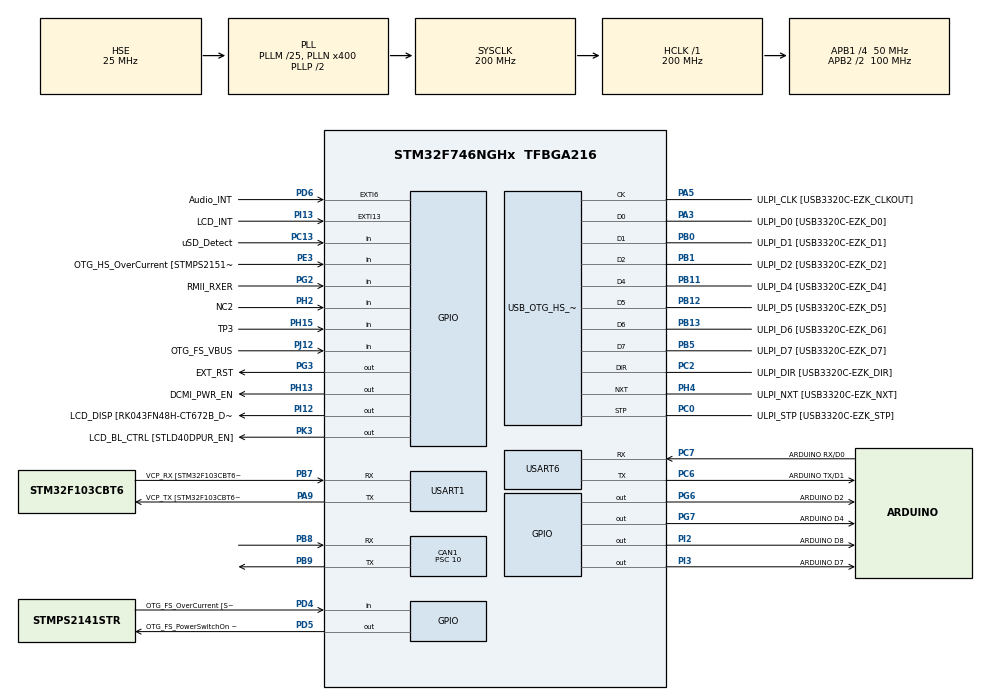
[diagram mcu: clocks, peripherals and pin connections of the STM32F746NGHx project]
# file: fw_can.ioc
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CAN1.BS1=CAN_BS1_8TQ
CAN1.CalculateBaudRate=500000
CAN1.CalculateTimeBit=2000
CAN1.CalculateTimeQuantum=200.0
CAN1.Prescaler=10
Mcu.Family=STM32F7
Mcu.Name=STM32F746NGHx
Mcu.Package=TFBGA216
NVIC.CAN1_RX0_IRQn=true\:0\:0\:false\:false\:true\:true\:true\:true
NVIC.PriorityGroup=NVIC_PRIORITYGROUP_4
PA0/WKUP.GPIO_Label=ARDUINO A0
PA0/WKUP.GPIO_Mode=GPIO_MODE_ANALOG
PA0/WKUP.GPIO_PuPd=GPIO_NOPULL
PA0/WKUP.Signal=ADCx_IN0
PA1.GPIO_Label=RMII_REF_CLK [LAN8742A-CZ-TR_REFCLK0]
PA1.Signal=ETH_REF_CLK
PA10.GPIO_Label=OTG_FS_ID
PA10.Signal=USB_OTG_FS_ID
PA11.GPIO_Label=OTG_FS_N
PA11.Signal=USB_OTG_FS_DM
PA12.GPIO_Label=OTG_FS_P
PA12.Signal=USB_OTG_FS_DP
PA13.GPIO_Label=SWDIO
PA13.Mode=Serial_Wire
PA13.Signal=SYS_JTMS-SWDIO
PA14.GPIO_Label=SWCLK
PA14.Mode=Serial_Wire
PA14.Signal=SYS_JTCK-SWCLK
PA15.GPIO_Label=ARDUINO PWM/D9
PA15.GPIO_ModeDefaultPP=GPIO_MODE_AF_PP
PA15.GPIO_PuPd=GPIO_NOPULL
PA15.GPIO_Speed=GPIO_SPEED_FREQ_LOW
PA15.Signal=S_TIM2_CH1_ETR
PA2.GPIO_Label=RMII_MDIO [LAN8742A-CZ-TR_MDIO]
PA2.Signal=ETH_MDIO
PA3.GPIO_Label=ULPI_D0 [USB3320C-EZK_D0]
PA3.Mode=Host_HS
PA3.Signal=USB_OTG_HS_ULPI_D0
PA4.GPIO_Label=DCMI_HSYNC
PA4.Signal=DCMI_HSYNC
PA5.GPIO_Label=ULPI_CLK [USB3320C-EZK_CLKOUT]
PA5.Mode=Host_HS
PA5.Signal=USB_OTG_HS_ULPI_CK
PA6.Signal=DCMI_PIXCLK
PA7.GPIO_Label=RMII_CRS_DV [LAN8742A-CZ-TR_CRS_DV]
PA7.Signal=ETH_CRS_DV
PA8.GPIO_Label=ARDUINO PWM/D10
PA8.GPIO_ModeDefaultPP=GPIO_MODE_AF_PP
PA8.GPIO_PuPd=GPIO_NOPULL
PA8.GPIO_Speed=GPIO_SPEED_FREQ_LOW
PA8.Signal=S_TIM1_CH1
PA9.GPIO_Label=VCP_TX [STM32F103CBT6_PA3]
PA9.GPIO_Mode=GPIO_MODE_AF_PP
PA9.GPIO_PuPd=GPIO_NOPULL
PA9.GPIO_Speed=GPIO_SPEED_FREQ_LOW
PA9.Mode=Asynchronous
PA9.Signal=USART1_TX
PB0.GPIO_Label=ULPI_D1 [USB3320C-EZK_D1]
PB0.Mode=Host_HS
PB0.Signal=USB_OTG_HS_ULPI_D1
PB1.GPIO_Label=ULPI_D2 [USB3320C-EZK_D2]
PB1.Mode=Host_HS
PB1.Signal=USB_OTG_HS_ULPI_D2
PB10.GPIO_Label=ULPI_D3 [USB3320C-EZK_D3]
PB10.Signal=USB_OTG_HS_ULPI_D3
PB11.GPIO_Label=ULPI_D4 [USB3320C-EZK_D4]
PB11.Mode=Host_HS
PB11.Signal=USB_OTG_HS_ULPI_D4
PB12.GPIO_Label=ULPI_D5 [USB3320C-EZK_D5]
PB12.Mode=Host_HS
PB12.Signal=USB_OTG_HS_ULPI_D5
PB13.GPIO_Label=ULPI_D6 [USB3320C-EZK_D6]
PB13.Mode=Host_HS
PB13.Signal=USB_OTG_HS_ULPI_D6
PB14.GPIO_Label=ARDUINO MISO/D12
PB14.GPIO_Mode=GPIO_MODE_AF_PP
PB14.GPIO_PuPd=GPIO_NOPULL
PB14.GPIO_Speed=GPIO_SPEED_FREQ_LOW
PB14.Signal=SPI2_MISO
PB15.GPIO_Label=ARDUINO MOSI/PWM/D11
PB15.GPIO_Mode=GPIO_MODE_AF_PP
PB15.GPIO_PuPd=GPIO_NOPULL
PB15.GPIO_Speed=GPIO_SPEED_FREQ_LOW
PB15.Signal=SPI2_MOSI
PB2.Signal=QUADSPI_CLK
PB3.GPIO_Label=SWO
PB3.Signal=SYS_JTDO-SWO
PB4.GPIO_Label=ARDUINO PWM/D3
PB4.GPIO_ModeDefaultPP=GPIO_MODE_AF_PP
PB4.GPIO_PuPd=GPIO_NOPULL
PB4.GPIO_Speed=GPIO_SPEED_FREQ_LOW
PB4.Signal=S_TIM3_CH1
PB5.GPIO_Label=ULPI_D7 [USB3320C-EZK_D7]
PB5.Mode=Host_HS
PB5.Signal=USB_OTG_HS_ULPI_D7
PB6.GPIO_Label=QSPI_NCS [N25Q128A13EF840E_S]
PB6.Signal=QUADSPI_BK1_NCS
PB7.GPIO_Label=VCP_RX [STM32F103CBT6_PA2]
PB7.GPIO_Mode=GPIO_MODE_AF_PP
PB7.GPIO_PuPd=GPIO_NOPULL
PB7.GPIO_Speed=GPIO_SPEED_FREQ_LOW
PB7.Mode=Asynchronous
PB7.Signal=USART1_RX
PB8.Mode=CAN_Activate
PB8.Signal=CAN1_RX
PB9.Mode=CAN_Activate
PB9.Signal=CAN1_TX
PC0.GPIO_Label=ULPI_STP [USB3320C-EZK_STP]
PC0.Mode=Host_HS
PC0.Signal=USB_OTG_HS_ULPI_STP
PC1.GPIO_Label=RMII_MDC [LAN8742A-CZ-TR_MDC]
PC1.Signal=ETH_MDC
PC10.GPIO_Label=SDMMC_D2
PC10.Signal=SDMMC1_D2
PC11.GPIO_Label=SDMMC_D3
PC11.Signal=SDMMC1_D3
PC12.GPIO_Label=SDMMC_CK
PC12.Signal=SDMMC1_CK
PC13.GPIO_Label=uSD_Detect
PC13.Signal=GPIO_Input
PC14/OSC32_IN.GPIO_Label=RCC_OSC32_IN
PC14/OSC32_IN.Mode=LSE-External-Oscillator
PC14/OSC32_IN.Signal=RCC_OSC32_IN
PC15/OSC32_OUT.GPIO_Label=RCC_OSC32_OUT
PC15/OSC32_OUT.Mode=LSE-External-Oscillator
PC15/OSC32_OUT.Signal=RCC_OSC32_OUT
PC2.GPIO_Label=ULPI_DIR [USB3320C-EZK_DIR]
PC2.Mode=Host_HS
PC2.Signal=USB_OTG_HS_ULPI_DIR
PC3.GPIO_Label=FMC_SDCKE0 [MT48LC4M32B2B5-6A_CKE]
PC3.Signal=FMC_SDCKE0
PC4.GPIO_Label=RMII_RXD0 [LAN8742A-CZ-TR_RXD0]
PC4.Signal=ETH_RXD0
PC5.GPIO_Label=RMII_RXD1 [LAN8742A-CZ-TR_RXD1]
PC5.Signal=ETH_RXD1
PC6.GPIO_Label=ARDUINO TX/D1
PC6.Mode=Asynchronous
PC6.Signal=USART6_TX
PC7.GPIO_Label=ARDUINO RX/D0
PC7.Mode=Asynchronous
PC7.Signal=USART6_RX
PC8.Signal=SDMMC1_D0
PC9.Signal=SDMMC1_D1
PD0.GPIO_Label=FMC_D2 [MT48LC4M32B2B5-6A_DQ2]
PD0.Signal=FMC_D2_DA2
PD1.GPIO_Label=FMC_D3 [MT48LC4M32B2B5-6A_DQ3]
PD1.Signal=FMC_D3_DA3
PD10.GPIO_Label=FMC_D15 [MT48LC4M32B2B5-6A_DQ15]
PD10.Signal=FMC_D15_DA15
PD11.GPIO_Label=QSPI_D0 [N25Q128A13EF840E_DQ0]
PD11.Signal=QUADSPI_BK1_IO0
PD12.GPIO_Label=QSPI_D1 [N25Q128A13EF840E_DQ1]
PD12.Signal=QUADSPI_BK1_IO1
PD13.GPIO_Label=QSPI_D3 [N25Q128A13EF840E_DQ3]
PD13.Signal=QUADSPI_BK1_IO3
PD14.GPIO_Label=FMC_D0 [MT48LC4M32B2B5-6A_DQ0]
PD14.Signal=FMC_D0_DA0
PD15.GPIO_Label=FMC_D1 [MT48LC4M32B2B5-6A_DQ1]
PD15.Signal=FMC_D1_DA1
PD2.GPIO_Label=SDMMC_CMD
PD2.Signal=SDMMC1_CMD
PD3.GPIO_Label=DCMI_D5
PD3.Signal=DCMI_D5
PD4.GPIO_Label=OTG_FS_OverCurrent [STMPS2141STR_Fault]
PD4.Signal=GPIO_Input
PD5.GPIO_Label=OTG_FS_PowerSwitchOn [STMPS2141STR_EN]
PD5.PinState=GPIO_PIN_SET
PD5.Signal=GPIO_Output
PD6.GPIO_Label=Audio_INT
PD6.GPIO_ModeDefaultEXTI=GPIO_MODE_EVT_RISING
PD6.Signal=GPXTI6
PD7.GPIO_Label=SPDIF_RX0 [74LVC1G04SE_4]
PD7.Signal=SPDIFRX_IN0
PD8.GPIO_Label=FMC_D13 [MT48LC4M32B2B5-6A_DQ13]
PD8.Signal=FMC_D13_DA13
PD9.GPIO_Label=FMC_D14 [MT48LC4M32B2B5-6A_DQ14]
PD9.Signal=FMC_D14_DA14
PE0.GPIO_Label=FMC_NBL0 [MT48LC4M32B2B5-6A_DQM0]
PE0.Signal=FMC_NBL0
PE1.GPIO_Label=FMC_NBL1 [MT48LC4M32B2B5-6A_DQM1]
PE1.Signal=FMC_NBL1
PE10.GPIO_Label=FMC_D7 [MT48LC4M32B2B5-6A_DQ7]
PE10.Signal=FMC_D7_DA7
PE11.GPIO_Label=FMC_D8 [MT48LC4M32B2B5-6A_DQ8]
PE11.Signal=FMC_D8_DA8
PE12.GPIO_Label=FMC_D9 [MT48LC4M32B2B5-6A_DQ9]
PE12.Signal=FMC_D9_DA9
PE13.GPIO_Label=FMC_D10 [MT48LC4M32B2B5-6A_DQ10]
PE13.Signal=FMC_D10_DA10
PE14.GPIO_Label=FMC_D11 [MT48LC4M32B2B5-6A_DQ11]
PE14.Signal=FMC_D11_DA11
PE15.GPIO_Label=FMC_D12 [MT48LC4M32B2B5-6A_DQ12]
PE15.Signal=FMC_D12_DA12
PE2.GPIO_Label=QSPI_D2 [N25Q128A13EF840E_DQ2]
PE2.Signal=QUADSPI_BK1_IO2
PE3.GPIO_Label=OTG_HS_OverCurrent [STMPS2151STR_FAULT]
PE3.Signal=GPIO_Input
PE4.GPIO_Label=LCD_B0 [RK043FN48H-CT672B_B0]
PE4.Signal=LTDC_B0
PE5.GPIO_Label=DCMI_D6
PE5.Signal=DCMI_D6
PE6.GPIO_Label=DCMI_D7
PE6.Signal=DCMI_D7
PE7.GPIO_Label=FMC_D4 [MT48LC4M32B2B5-6A_DQ4]
PE7.Signal=FMC_D4_DA4
PE8.GPIO_Label=FMC_D5 [MT48LC4M32B2B5-6A_DQ5]
PE8.Signal=FMC_D5_DA5
PE9.GPIO_Label=FMC_D6 [MT48LC4M32B2B5-6A_DQ6]
PE9.Signal=FMC_D6_DA6
PF0.GPIO_Label=FMC_A0 [MT48LC4M32B2B5-6A_A0]
PF0.Signal=FMC_A0
PF1.GPIO_Label=FMC_A1 [MT48LC4M32B2B5-6A_A1]
PF1.Signal=FMC_A1
PF10.GPIO_Label=ARDUINO A1
PF10.GPIO_Mode=GPIO_MODE_ANALOG
PF10.GPIO_PuPd=GPIO_NOPULL
PF10.Signal=ADC3_IN8
PF11.GPIO_Label=FMC_SDNRAS [MT48LC4M32B2B5-6A_RAS]
PF11.Signal=FMC_SDNRAS
PF12.GPIO_Label=FMC_A6 [MT48LC4M32B2B5-6A_A6]
PF12.Signal=FMC_A6
PF13.GPIO_Label=FMC_A7 [MT48LC4M32B2B5-6A_A7]
PF13.Signal=FMC_A7
PF14.GPIO_Label=FMC_A8 [MT48LC4M32B2B5-6A_A8]
PF14.Signal=FMC_A8
PF15.GPIO_Label=FMC_A9 [MT48LC4M32B2B5-6A_A9]
PF15.Signal=FMC_A9
PF2.GPIO_Label=FMC_A2 [MT48LC4M32B2B5-6A_A2]
PF2.Signal=FMC_A2
PF3.GPIO_Label=FMC_A3 [MT48LC4M32B2B5-6A_A3]
PF3.Signal=FMC_A3
PF4.GPIO_Label=FMC_A4 [MT48LC4M32B2B5-6A_A4]
PF4.Signal=FMC_A4
PF5.GPIO_Label=FMC_A5 [MT48LC4M32B2B5-6A_A5]
PF5.Signal=FMC_A5
PF6.GPIO_Label=ARDUINO A5
PF6.GPIO_Mode=GPIO_MODE_ANALOG
PF6.GPIO_PuPd=GPIO_NOPULL
PF6.Signal=ADC3_IN4
PF7.GPIO_Label=ARDUINO A4
PF7.GPIO_Mode=GPIO_MODE_ANALOG
PF7.GPIO_PuPd=GPIO_NOPULL
PF7.Signal=ADC3_IN5
PF8.GPIO_Label=ARDUINO A3
PF8.GPIO_Mode=GPIO_MODE_ANALOG
PF8.GPIO_PuPd=GPIO_NOPULL
PF8.Signal=ADC3_IN6
PF9.GPIO_Label=ARDUINO A2
PF9.GPIO_Mode=GPIO_MODE_ANALOG
PF9.GPIO_PuPd=GPIO_NOPULL
PF9.Signal=ADC3_IN7
PG0.GPIO_Label=FMC_A10 [MT48LC4M32B2B5-6A_A10]
PG0.Signal=FMC_A10
PG1.GPIO_Label=FMC_A11 [MT48LC4M32B2B5-6A_A11]
PG1.Signal=FMC_A11
PG10.GPIO_Label=SAI2_SDB [WM8994ECS/R_ADCDAT1]
PG10.Signal=SAI2_SD_B
PG11.GPIO_Label=RMII_TX_EN [LAN8742A-CZ-TR_TXEN]
PG11.Signal=ETH_TX_EN
PG12.GPIO_Label=LCD_B4 [RK043FN48H-CT672B_B4]
PG12.Signal=LTDC_B4
PG13.GPIO_Label=RMII_TXD0 [LAN8742A-CZ-TR_TXD0]
PG13.Signal=ETH_TXD0
PG14.GPIO_Label=RMII_TXD1 [LAN8742A-CZ-TR_TXD1]
PG14.Signal=ETH_TXD1
PG15.GPIO_Label=FMC_SDNCAS [MT48LC4M32B2B5-6A_CAS]
PG15.Signal=FMC_SDNCAS
PG2.GPIO_Label=RMII_RXER
PG2.Signal=GPIO_Input
PG3.GPIO_Label=EXT_RST
PG3.Signal=GPIO_Output
PG4.GPIO_Label=FMC_BA0 [MT48LC4M32B2B5-6A_BA0]
PG4.Signal=FMC_A14_BA0
PG5.GPIO_Label=FMC_BA1 [MT48LC4M32B2B5-6A_BA1]
PG5.Signal=FMC_A15_BA1
PG6.GPIO_Label=ARDUINO D2
PG6.Signal=GPIO_Output
PG7.GPIO_Label=ARDUINO D4
PG7.Signal=GPIO_Output
PG8.GPIO_Label=FMC_SDCLK [MT48LC4M32B2B5-6A_CLK]
PG8.Signal=FMC_SDCLK
PG9.GPIO_Label=DCMI_VSYNC
PG9.Signal=DCMI_VSYNC
PH0/OSC_IN.GPIO_Label=OSC_25M [NZ2520SB-25.00M_OUT]
PH0/OSC_IN.Mode=HSE-External-Oscillator
PH0/OSC_IN.Signal=RCC_OSC_IN
PH1/OSC_OUT.Mode=HSE-External-Oscillator
PH1/OSC_OUT.Signal=RCC_OSC_OUT
PH10.GPIO_Label=DCMI_D1
PH10.Signal=DCMI_D1
PH11.GPIO_Label=DCMI_D2
PH11.Signal=DCMI_D2
PH12.GPIO_Label=DCMI_D3
PH12.Signal=DCMI_D3
PH13.GPIO_Label=DCMI_PWR_EN
PH13.Signal=GPIO_Output
PH14.GPIO_Label=DCMI_D4
PH14.Signal=DCMI_D4
PH15.GPIO_Label=TP3
PH15.Signal=GPIO_Input
PH2.GPIO_Label=NC2
PH2.Signal=GPIO_Input
PH3.GPIO_Label=FMC_SDNE0 [MT48LC4M32B2B5-6A_CS]
PH3.Signal=FMC_SDNE0
PH4.GPIO_Label=ULPI_NXT [USB3320C-EZK_NXT]
PH4.Mode=Host_HS
PH4.Signal=USB_OTG_HS_ULPI_NXT
PH5.GPIO_Label=FMC_SDNME [MT48LC4M32B2B5-6A_WE]
PH5.Signal=FMC_SDNWE
PH6.GPIO_Label=ARDUINO PWM/D6
PH6.Signal=S_TIM12_CH1
PH7.GPIO_Label=LCD_SCL [RK043FN48H-CT672B_SCL]
PH7.GPIO_Pu=GPIO_PULLUP
PH7.Signal=I2C3_SCL
PH8.GPIO_Label=LCD_SDA [RK043FN48H-CT672B_SDA]
PH8.GPIO_Pu=GPIO_PULLUP
PH8.Signal=I2C3_SDA
PH9.GPIO_Label=DCMI_D0
PH9.Signal=DCMI_D0
PI0.GPIO_Label=ARDUINO PWM/CS/D5
PI0.GPIO_ModeDefaultPP=GPIO_MODE_AF_PP
PI0.GPIO_PuPd=GPIO_NOPULL
PI0.GPIO_Speed=GPIO_SPEED_FREQ_LOW
PI0.Signal=S_TIM5_CH4
PI1.GPIO_Label=ARDUINO SCK/D13
PI1.GPIO_Mode=GPIO_MODE_AF_PP
PI1.GPIO_PuPd=GPIO_NOPULL
PI1.GPIO_Speed=GPIO_SPEED_FREQ_LOW
PI1.Signal=SPI2_SCK
PI10.GPIO_Label=LCD_HSYNC [RK043FN48H-CT672B_HSYNC]
PI10.Signal=LTDC_HSYNC
PI12.GPIO_Label=LCD_DISP [RK043FN48H-CT672B_DISP] 
PI12.PinState=GPIO_PIN_SET
PI12.Signal=GPIO_Output
PI13.GPIO_Label=LCD_INT
PI13.GPIO_ModeDefaultEXTI=GPIO_MODE_EVT_RISING
PI13.Signal=GPXTI13
PI14.GPIO_Label=LCD_CLK [RK043FN48H-CT672B_CLK]
PI14.Signal=LTDC_CLK
PI15.GPIO_Label=LCD_R0 [RK043FN48H-CT672B_R0]
PI15.Signal=LTDC_R0
PI2.GPIO_Label=ARDUINO D8
PI2.Signal=GPIO_Output
PI3.GPIO_Label=ARDUINO D7
PI3.Signal=GPIO_Output
PI4.GPIO_Label=SAI2_MCLKA [WM8994ECS/R_MCLK1]
PI4.Signal=SAI2_MCLK_A
PI5.GPIO_Label=SAI2_SCKA [WM8994ECS/R_BCLK1]
PI5.Signal=SAI2_SCK_A
PI6.GPIO_Label=SAI2_SDA [WM8994ECS/R_DACDAT1]
PI6.Signal=SAI2_SD_A
PI7.GPIO_Label=SAI2_FSA [WM8994ECS/R_LRCLK1]
PI7.Signal=SAI2_FS_A
PI8.GPIO_Label=NC1 [TP2]
PI8.Signal=RTC_TS
PI9.GPIO_Label=LCD_VSYNC [RK043FN48H-CT672B_VSYNC]
PI9.Signal=LTDC_VSYNC
PJ0.GPIO_Label=LCD_R1 [RK043FN48H-CT672B_R1]
PJ0.Signal=LTDC_R1
PJ1.GPIO_Label=LCD_R2 [RK043FN48H-CT672B_R2]
PJ1.Signal=LTDC_R2
PJ10.GPIO_Label=LCD_G3 [RK043FN48H-CT672B_G3]
PJ10.Signal=LTDC_G3
PJ11.GPIO_Label=LCD_G4 [RK043FN48H-CT672B_G4]
PJ11.Signal=LTDC_G4
PJ12.GPIO_Label=OTG_FS_VBUS
PJ12.Signal=GPIO_Input
PJ13.GPIO_Label=LCD_B1 [RK043FN48H-CT672B_B1]
PJ13.Signal=LTDC_B1
PJ14.GPIO_Label=LCD_B2 [RK043FN48H-CT672B_B2]
PJ14.Signal=LTDC_B2
PJ15.GPIO_Label=LCD_B3 [RK043FN48H-CT672B_B3]
PJ15.Signal=LTDC_B3
PJ2.GPIO_Label=LCD_R3 [RK043FN48H-CT672B_R3]
PJ2.Signal=LTDC_R3
PJ3.GPIO_Label=LCD_R4 [RK043FN48H-CT672B_R4]
PJ3.Signal=LTDC_R4
PJ4.GPIO_Label=LCD_R5 [RK043FN48H-CT672B_R5]
PJ4.Signal=LTDC_R5
PJ5.GPIO_Label=LCD_R6 [RK043FN48H-CT672B_R6]
PJ5.Signal=LTDC_R6
PJ6.GPIO_Label=LCD_R7 [RK043FN48H-CT672B_R7]
PJ6.Signal=LTDC_R7
PJ7.GPIO_Label=LCD_G0 [RK043FN48H-CT672B_G0]
PJ7.Signal=LTDC_G0
PJ8.GPIO_Label=LCD_G1 [RK043FN48H-CT672B_G1]
PJ8.Signal=LTDC_G1
PJ9.GPIO_Label=LCD_G2 [RK043FN48H-CT672B_G2]
PJ9.Signal=LTDC_G2
PK0.GPIO_Label=LCD_G5 [RK043FN48H-CT672B_G5]
PK0.Signal=LTDC_G5
PK1.GPIO_Label=LCD_G6 [RK043FN48H-CT672B_G6]
PK1.Signal=LTDC_G6
PK2.GPIO_Label=LCD_G7 [RK043FN48H-CT672B_G7]
PK2.Signal=LTDC_G7
PK3.GPIO_Label=LCD_BL_CTRL [STLD40DPUR_EN]
PK3.GPIO_Speed=GPIO_SPEED_FREQ_LOW
PK3.PinState=GPIO_PIN_SET
PK3.Signal=GPIO_Output
PK4.GPIO_Label=LCD_B5 [RK043FN48H-CT672B_B5]
PK4.Signal=LTDC_B5
PK5.GPIO_Label=LCD_B6 [RK043FN48H-CT672B_B6]
PK5.Signal=LTDC_B6
PK6.GPIO_Label=LCD_B7 [RK043FN48H-CT672B_B7]
PK6.Signal=LTDC_B7
PK7.GPIO_Label=LCD_DE [RK043FN48H-CT672B_DE]
PK7.Signal=LTDC_DE
ProjectManager.HeapSize=0x200
ProjectManager.StackSize=0x400
ProjectManager.TargetToolchain=STM32CubeIDE
RCC.AHBFreq_Value=200000000
RCC.APB1CLKDivider=RCC_HCLK_DIV4
RCC.APB1Freq_Value=50000000
RCC.APB1TimFreq_Value=100000000
RCC.APB2CLKDivider=RCC_HCLK_DIV2
RCC.APB2Freq_Value=100000000
RCC.APB2TimFreq_Value=200000000
RCC.CortexFreq_Value=200000000
RCC.HCLKFreq_Value=200000000
RCC.HSE_VALUE=25000000
RCC.HSI_VALUE=16000000
RCC.PLL48CLockSelection=RCC_CLK48SOURCE_PLLSAIP
RCC.PLLI2SN=100
RCC.PLLM=25
RCC.PLLN=400
RCC.PLLQ=9
RCC.PLLSAIN=384
RCC.PLLSAIP=RCC_PLLSAIP_DIV8
RCC.PLLSAIR=5
RCC.PLLSAIRDiv=RCC_PLLSAIDIVR_8
RCC.PLLSourceVirtual=RCC_PLLSOURCE_HSE
RCC.SDMMCClockSelection=RCC_SDMMC1CLKSOURCE_CLK48
RCC.SYSCLKFreq_VALUE=200000000
RCC.SYSCLKSource=RCC_SYSCLKSOURCE_PLLCLK
RCC.USBFreq_Value=48000000
RCC.VCOOutputFreq_Value=400000000
SH.ADCx_IN0.0=ADC3_IN0
SH.FMC_A0.0=FMC_A0
SH.FMC_A1.0=FMC_A1
SH.FMC_A10.0=FMC_A10
SH.FMC_A11.0=FMC_A11
SH.FMC_A14_BA0.0=FMC_BA0
SH.FMC_A15_BA1.0=FMC_BA1
SH.FMC_A2.0=FMC_A2
SH.FMC_A3.0=FMC_A3
SH.FMC_A4.0=FMC_A4
SH.FMC_A5.0=FMC_A5
SH.FMC_A6.0=FMC_A6
SH.FMC_A7.0=FMC_A7
SH.FMC_A8.0=FMC_A8
SH.FMC_A9.0=FMC_A9
SH.FMC_D0_DA0.0=FMC_D0
SH.FMC_D10_DA10.0=FMC_D10
SH.FMC_D11_DA11.0=FMC_D11
SH.FMC_D12_DA12.0=FMC_D12
SH.FMC_D13_DA13.0=FMC_D13
SH.FMC_D14_DA14.0=FMC_D14
SH.FMC_D15_DA15.0=FMC_D15
SH.FMC_D1_DA1.0=FMC_D1
SH.FMC_D2_DA2.0=FMC_D2
SH.FMC_D3_DA3.0=FMC_D3
SH.FMC_D4_DA4.0=FMC_D4
SH.FMC_D5_DA5.0=FMC_D5
SH.FMC_D6_DA6.0=FMC_D6
SH.FMC_D7_DA7.0=FMC_D7
SH.FMC_D8_DA8.0=FMC_D8
SH.FMC_D9_DA9.0=FMC_D9
SH.FMC_NBL0.0=FMC_NBL0
SH.FMC_NBL1.0=FMC_NBL1
SH.FMC_SDCLK.0=FMC_SDCLK
SH.FMC_SDNCAS.0=FMC_SDNCAS
SH.FMC_SDNRAS.0=FMC_SDNRAS
SH.FMC_SDNWE.0=FMC_SDNWE
SH.S_TIM12_CH1.0=TIM12_CH1
SH.S_TIM1_CH1.0=TIM1_CH1
SH.S_TIM2_CH1_ETR.0=TIM2_CH1
SH.S_TIM3_CH1.0=TIM3_CH1
SH.S_TIM5_CH4.0=TIM5_CH4
USART1.VirtualMode-Asynchronous=VM_ASYNC
USART6.VirtualMode-Asynchronous=VM_ASYNC
board=STM32F746G-DISCO

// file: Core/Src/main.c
/* USER CODE BEGIN Header */
/**
  ******************************************************************************
  * @file           : main.c
  * @brief          : Main program body
  ******************************************************************************
  * @attention
  *
  * Copyright (c) 2022 STMicroelectronics.
  * All rights reserved.
  *
  * This software is licensed under terms that can be found in the LICENSE file
  * in the root directory of this software component.
  * If no LICENSE file comes with this software, it is provided AS-IS.
  *
  ******************************************************************************
  */
/* USER CODE END Header */
#include "main.h"

/* USER CODE BEGIN Includes */
#include <string.h>
#include <stdio.h>
#include <stdbool.h>
/* USER CODE END Includes */

CAN_HandleTypeDef hcan1;

UART_HandleTypeDef huart1;
UART_HandleTypeDef huart6;

void SystemClock_Config(void);
static void MX_GPIO_Init(void);
static void MX_USART6_UART_Init(void);
static void MX_CAN1_Init(void);
static void MX_USART1_UART_Init(void);

/* USER CODE BEGIN 0 */
static CAN_RxHeaderTypeDef can_rx_header;
static CAN_TxHeaderTypeDef can_tx_header;
static uint8_t tx_data[8];
static uint8_t rx_data[8];
volatile uint8_t is_received = false;
static uint32_t              TxMailbox;
/* USER CODE END 0 */

int main(void)
{

  /* MCU Configuration--------------------------------------------------------*/

  /* Reset of all peripherals, Initializes the Flash interface and the Systick. */
  HAL_Init();

  /* Configure the system clock */
  SystemClock_Config();

  /* Initialize all configured peripherals */
  MX_GPIO_Init();
  MX_USART6_UART_Init();
  MX_CAN1_Init();
  MX_USART1_UART_Init();

  /* Infinite loop */
  /* USER CODE BEGIN WHILE */
  uint32_t send_period = HAL_GetTick();
  uint32_t delay_ms = 500;

  uint32_t id = 0x123;;
  uint8_t response_7e8_count = 0;
  uint8_t cmd_data[8] = {0};
  while (1)
  {
//	  const char tag[] = "hello world\r\n";
//	  HAL_UART_Transmit(&huart1, tag, strlen(tag), 1000);
	  if(is_received)
	  {
		  is_received = false;

		  char buf[128] = {0};
		  snprintf(buf, sizeof(buf), "Received ID: %x, Data: %02x %02x %02x %02x %02x %02x %02x %02x\r\n",
				  (unsigned int)can_rx_header.StdId, rx_data[0], rx_data[1], rx_data[2], rx_data[3], rx_data[4],
				  rx_data[5], rx_data[6], rx_data[7]);
		  HAL_UART_Transmit(&huart1, (const uint8_t*)buf, strlen(buf), 1000);

		  if(can_rx_header.StdId == 0x7e0 && rx_data[0] == 0x02 &&
				  rx_data[1] == 0x10 &&
				  rx_data[2] == 0x01)
		  {
				can_tx_header.DLC = 8;
				can_tx_header.RTR = CAN_RTR_DATA;
				can_tx_header.StdId = 0x7e8;
				can_tx_header.ExtId = 0;
				can_tx_header.IDE = CAN_ID_STD;
				can_tx_header.TransmitGlobalTime = DISABLE;

				cmd_data[0] = 0x02;
				cmd_data[1] = 0x50;
				cmd_data[2] = 0x01;
				memset(buf, 0, sizeof(buf));
				snprintf(buf, sizeof(buf), "Response command data ID: 0x7E0\r\n");
				HAL_UART_Transmit(&huart1, (const uint8_t*)buf, strlen(buf), 1000);

				if (HAL_CAN_AddTxMessage(&hcan1, &can_tx_header, cmd_data,
						&TxMailbox) != HAL_OK) {
					Error_Handler();
				}
		  }
		  else if(can_rx_header.StdId == 0x7e0 && rx_data[0] == 0x02 &&
				  rx_data[1] == 0x10 && rx_data[2] == 0x03)
		  {
				if(response_7e8_count >= 10)
				{
					response_7e8_count = 0;
				}
				else
				{
					can_tx_header.DLC = 8;
					can_tx_header.RTR = CAN_RTR_DATA;
					can_tx_header.StdId = 0x7e8;
					can_tx_header.ExtId = 0;
					can_tx_header.IDE = CAN_ID_STD;
					can_tx_header.TransmitGlobalTime = DISABLE;
					cmd_data[0] = 0x02;
					cmd_data[1] = 0x50;
					cmd_data[2] = 0x03;
					memset(buf, 0, sizeof(buf));
					snprintf(buf, sizeof(buf), "Response command data ID: 0x7E8\r\n");
					HAL_UART_Transmit(&huart1, (const uint8_t*)buf, strlen(buf), 1000);

					if (HAL_CAN_AddTxMessage(&hcan1, &can_tx_header, cmd_data,
							&TxMailbox) != HAL_OK) {
						Error_Handler();
					}

					response_7e8_count++;
				}
		  }
		  else
		  {

		  }
	  }

	  uint32_t ms = (uint32_t)(HAL_GetTick() - send_period);
	  if(ms >= delay_ms)
	  {
			send_period = HAL_GetTick();

			can_tx_header.DLC = 8;
			can_tx_header.RTR = CAN_RTR_DATA;
			can_tx_header.StdId = id;
			can_tx_header.ExtId = 0;
			can_tx_header.IDE = CAN_ID_STD;
			can_tx_header.TransmitGlobalTime = DISABLE;

			if (id == 0x123) {
				// 02 10 01 00 00 00 00 00
				tx_data[0] = 0x02;
				tx_data[1] = 0x10;
				tx_data[2] = 0x01;
				tx_data[3] = 0x00;
				tx_data[4] = 0x00;
				tx_data[5] = 0x00;
				tx_data[6] = 0x00;
				tx_data[7] = 0x00;

				id = 0x456;
			} else {
				// 02 50 01 00 00 00 00 00
				tx_data[0] = 0x02;
				tx_data[1] = 0x50;
				tx_data[2] = 0x03;
				tx_data[3] = 0x00;
				tx_data[4] = 0x00;
				tx_data[5] = 0x00;
				tx_data[6] = 0x00;
				tx_data[7] = 0x00;

				id = 0x123;
			}
			if (HAL_CAN_AddTxMessage(&hcan1, &can_tx_header, tx_data,
					&TxMailbox) != HAL_OK) {
				Error_Handler();
			}
	  }

    /* USER CODE END WHILE */

  }
}

void SystemClock_Config(void)
{
  RCC_OscInitTypeDef RCC_OscInitStruct = {0};
  RCC_ClkInitTypeDef RCC_ClkInitStruct = {0};

  /** Configure LSE Drive Capability
  */
  HAL_PWR_EnableBkUpAccess();

  /** Configure the main internal regulator output voltage
  */
  __HAL_RCC_PWR_CLK_ENABLE();
  __HAL_PWR_VOLTAGESCALING_CONFIG(PWR_REGULATOR_VOLTAGE_SCALE1);

  /** Initializes the RCC Oscillators according to the specified parameters
  * in the RCC_OscInitTypeDef structure.
  */
  RCC_OscInitStruct.OscillatorType = RCC_OSCILLATORTYPE_HSE;
  RCC_OscInitStruct.HSEState = RCC_HSE_ON;
  RCC_OscInitStruct.PLL.PLLState = RCC_PLL_ON;
  RCC_OscInitStruct.PLL.PLLSource = RCC_PLLSOURCE_HSE;
  RCC_OscInitStruct.PLL.PLLM = 25;
  RCC_OscInitStruct.PLL.PLLN = 400;
  RCC_OscInitStruct.PLL.PLLP = RCC_PLLP_DIV2;
  RCC_OscInitStruct.PLL.PLLQ = 9;
  if (HAL_RCC_OscConfig(&RCC_OscInitStruct) != HAL_OK)
  {
    Error_Handler();
  }

  /** Activate the Over-Drive mode
  */
  if (HAL_PWREx_EnableOverDrive() != HAL_OK)
  {
    Error_Handler();
  }

  /** Initializes the CPU, AHB and APB buses clocks
  */
  RCC_ClkInitStruct.ClockType = RCC_CLOCKTYPE_HCLK|RCC_CLOCKTYPE_SYSCLK
                              |RCC_CLOCKTYPE_PCLK1|RCC_CLOCKTYPE_PCLK2;
  RCC_ClkInitStruct.SYSCLKSource = RCC_SYSCLKSOURCE_PLLCLK;
  RCC_ClkInitStruct.AHBCLKDivider = RCC_SYSCLK_DIV1;
  RCC_ClkInitStruct.APB1CLKDivider = RCC_HCLK_DIV4;
  RCC_ClkInitStruct.APB2CLKDivider = RCC_HCLK_DIV2;

  if (HAL_RCC_ClockConfig(&RCC_ClkInitStruct, FLASH_LATENCY_6) != HAL_OK)
  {
    Error_Handler();
  }
}

static void MX_CAN1_Init(void)
{

  /* USER CODE BEGIN CAN1_Init 0 */
	CAN_FilterTypeDef  sFilterConfig;
  /* USER CODE END CAN1_Init 0 */

  hcan1.Instance = CAN1;
  hcan1.Init.Prescaler = 10;
  hcan1.Init.Mode = CAN_MODE_NORMAL;
  hcan1.Init.SyncJumpWidth = CAN_SJW_1TQ;
  hcan1.Init.TimeSeg1 = CAN_BS1_8TQ;
  hcan1.Init.TimeSeg2 = CAN_BS2_1TQ;
  hcan1.Init.TimeTriggeredMode = DISABLE;
  hcan1.Init.AutoBusOff = DISABLE;
  hcan1.Init.AutoWakeUp = DISABLE;
  hcan1.Init.AutoRetransmission = DISABLE;
  hcan1.Init.ReceiveFifoLocked = DISABLE;
  hcan1.Init.TransmitFifoPriority = DISABLE;
  if (HAL_CAN_Init(&hcan1) != HAL_OK)
  {
    Error_Handler();
  }
  /* USER CODE BEGIN CAN1_Init 2 */
  sFilterConfig.FilterBank = 0;
  sFilterConfig.FilterMode = CAN_FILTERMODE_IDMASK;
  sFilterConfig.FilterScale = CAN_FILTERSCALE_32BIT;
  sFilterConfig.FilterIdHigh = 0x0000;
  sFilterConfig.FilterIdLow = 0x0000;
  sFilterConfig.FilterMaskIdHigh = 0x0000;
  sFilterConfig.FilterMaskIdLow = 0x0000;
  sFilterConfig.FilterFIFOAssignment = CAN_RX_FIFO0;
  sFilterConfig.FilterActivation = ENABLE;
  sFilterConfig.SlaveStartFilterBank = 14;

  if (HAL_CAN_ConfigFilter(&hcan1, &sFilterConfig) != HAL_OK)
  {
    /* Filter configuration Error */
    Error_Handler();
  }
  // Start the CAN peripheral
  if(HAL_CAN_Start(&hcan1) != HAL_OK)
  {
	  Error_Handler();
  }

  // Active CAN RX
  if(HAL_CAN_ActivateNotification(&hcan1, CAN_IT_RX_FIFO0_MSG_PENDING) != HAL_OK)
  {
	  Error_Handler();
  }
  /* USER CODE END CAN1_Init 2 */

}

static void MX_USART1_UART_Init(void)
{

  huart1.Instance = USART1;
  huart1.Init.BaudRate = 115200;
  huart1.Init.WordLength = UART_WORDLENGTH_8B;
  huart1.Init.StopBits = UART_STOPBITS_1;
  huart1.Init.Parity = UART_PARITY_NONE;
  huart1.Init.Mode = UART_MODE_TX_RX;
  huart1.Init.HwFlowCtl = UART_HWCONTROL_NONE;
  huart1.Init.OverSampling = UART_OVERSAMPLING_16;
  huart1.Init.OneBitSampling = UART_ONE_BIT_SAMPLE_DISABLE;
  huart1.AdvancedInit.AdvFeatureInit = UART_ADVFEATURE_NO_INIT;
  if (HAL_UART_Init(&huart1) != HAL_OK)
  {
    Error_Handler();
  }

}

static void MX_USART6_UART_Init(void)
{

  huart6.Instance = USART6;
  huart6.Init.BaudRate = 115200;
  huart6.Init.WordLength = UART_WORDLENGTH_8B;
  huart6.Init.StopBits = UART_STOPBITS_1;
  huart6.Init.Parity = UART_PARITY_NONE;
  huart6.Init.Mode = UART_MODE_TX_RX;
  huart6.Init.HwFlowCtl = UART_HWCONTROL_NONE;
  huart6.Init.OverSampling = UART_OVERSAMPLING_16;
  huart6.Init.OneBitSampling = UART_ONE_BIT_SAMPLE_DISABLE;
  huart6.AdvancedInit.AdvFeatureInit = UART_ADVFEATURE_NO_INIT;
  if (HAL_UART_Init(&huart6) != HAL_OK)
  {
    Error_Handler();
  }

}

static void MX_GPIO_Init(void)
{
  GPIO_InitTypeDef GPIO_InitStruct = {0};

  /* GPIO Ports Clock Enable */
  __HAL_RCC_GPIOE_CLK_ENABLE();
  __HAL_RCC_GPIOG_CLK_ENABLE();
  __HAL_RCC_GPIOB_CLK_ENABLE();
  __HAL_RCC_GPIOD_CLK_ENABLE();
  __HAL_RCC_GPIOC_CLK_ENABLE();
  __HAL_RCC_GPIOA_CLK_ENABLE();
  __HAL_RCC_GPIOJ_CLK_ENABLE();
  __HAL_RCC_GPIOI_CLK_ENABLE();
  __HAL_RCC_GPIOK_CLK_ENABLE();
  __HAL_RCC_GPIOF_CLK_ENABLE();
  __HAL_RCC_GPIOH_CLK_ENABLE();

  /*Configure GPIO pin Output Level */
  HAL_GPIO_WritePin(OTG_FS_PowerSwitchOn_GPIO_Port, OTG_FS_PowerSwitchOn_Pin, GPIO_PIN_SET);

  /*Configure GPIO pin Output Level */
  HAL_GPIO_WritePin(GPIOI, ARDUINO_D7_Pin|ARDUINO_D8_Pin, GPIO_PIN_RESET);

  /*Configure GPIO pin Output Level */
  HAL_GPIO_WritePin(LCD_BL_CTRL_GPIO_Port, LCD_BL_CTRL_Pin, GPIO_PIN_SET);

  /*Configure GPIO pin Output Level */
  HAL_GPIO_WritePin(LCD_DISP_GPIO_Port, LCD_DISP_Pin, GPIO_PIN_SET);

  /*Configure GPIO pin Output Level */
  HAL_GPIO_WritePin(DCMI_PWR_EN_GPIO_Port, DCMI_PWR_EN_Pin, GPIO_PIN_RESET);

  /*Configure GPIO pin Output Level */
  HAL_GPIO_WritePin(GPIOG, ARDUINO_D4_Pin|ARDUINO_D2_Pin|EXT_RST_Pin, GPIO_PIN_RESET);

  /*Configure GPIO pin : LCD_B0_Pin */
  GPIO_InitStruct.Pin = LCD_B0_Pin;
  GPIO_InitStruct.Mode = GPIO_MODE_AF_PP;
  GPIO_InitStruct.Pull = GPIO_NOPULL;
  GPIO_InitStruct.Speed = GPIO_SPEED_FREQ_LOW;
  GPIO_InitStruct.Alternate = GPIO_AF14_LTDC;
  HAL_GPIO_Init(LCD_B0_GPIO_Port, &GPIO_InitStruct);

  /*Configure GPIO pin : OTG_HS_OverCurrent_Pin */
  GPIO_InitStruct.Pin = OTG_HS_OverCurrent_Pin;
  GPIO_InitStruct.Mode = GPIO_MODE_INPUT;
  GPIO_InitStruct.Pull = GPIO_NOPULL;
  HAL_GPIO_Init(OTG_HS_OverCurrent_GPIO_Port, &GPIO_InitStruct);

  /*Configure GPIO pin : QSPI_D2_Pin */
  GPIO_InitStruct.Pin = QSPI_D2_Pin;
  GPIO_InitStruct.Mode = GPIO_MODE_AF_PP;
  GPIO_InitStruct.Pull = GPIO_NOPULL;
  GPIO_InitStruct.Speed = GPIO_SPEED_FREQ_VERY_HIGH;
  GPIO_InitStruct.Alternate = GPIO_AF9_QUADSPI;
  HAL_GPIO_Init(QSPI_D2_GPIO_Port, &GPIO_InitStruct);

  /*Configure GPIO pins : RMII_TXD1_Pin RMII_TXD0_Pin RMII_TX_EN_Pin */
  GPIO_InitStruct.Pin = RMII_TXD1_Pin|RMII_TXD0_Pin|RMII_TX_EN_Pin;
  GPIO_InitStruct.Mode = GPIO_MODE_AF_PP;
  GPIO_InitStruct.Pull = GPIO_NOPULL;
  GPIO_InitStruct.Speed = GPIO_SPEED_FREQ_VERY_HIGH;
  GPIO_InitStruct.Alternate = GPIO_AF11_ETH;
  HAL_GPIO_Init(GPIOG, &GPIO_InitStruct);

  /*Configure GPIO pins : FMC_NBL1_Pin FMC_NBL0_Pin FMC_D5_Pin FMC_D6_Pin
                           FMC_D8_Pin FMC_D11_Pin FMC_D4_Pin FMC_D7_Pin
                           FMC_D9_Pin FMC_D12_Pin FMC_D10_Pin */
  GPIO_InitStruct.Pin = FMC_NBL1_Pin|FMC_NBL0_Pin|FMC_D5_Pin|FMC_D6_Pin
                          |FMC_D8_Pin|FMC_D11_Pin|FMC_D4_Pin|FMC_D7_Pin
                          |FMC_D9_Pin|FMC_D12_Pin|FMC_D10_Pin;
  GPIO_InitStruct.Mode = GPIO_MODE_AF_PP;
  GPIO_InitStruct.Pull = GPIO_NOPULL;
  GPIO_InitStruct.Speed = GPIO_SPEED_FREQ_VERY_HIGH;
  GPIO_InitStruct.Alternate = GPIO_AF12_FMC;
  HAL_GPIO_Init(GPIOE, &GPIO_InitStruct);

  /*Configure GPIO pins : ULPI_D7_Pin ULPI_D6_Pin ULPI_D5_Pin ULPI_D3_Pin
                           ULPI_D2_Pin ULPI_D1_Pin ULPI_D4_Pin */
  GPIO_InitStruct.Pin = ULPI_D7_Pin|ULPI_D6_Pin|ULPI_D5_Pin|ULPI_D3_Pin
                          |ULPI_D2_Pin|ULPI_D1_Pin|ULPI_D4_Pin;
  GPIO_InitStruct.Mode = GPIO_MODE_AF_PP;
  GPIO_InitStruct.Pull = GPIO_NOPULL;
  GPIO_InitStruct.Speed = GPIO_SPEED_FREQ_VERY_HIGH;
  GPIO_InitStruct.Alternate = GPIO_AF10_OTG_HS;
  HAL_GPIO_Init(GPIOB, &GPIO_InitStruct);

  /*Configure GPIO pin : ARDUINO_PWM_D3_Pin */
  GPIO_InitStruct.Pin = ARDUINO_PWM_D3_Pin;
  GPIO_InitStruct.Mode = GPIO_MODE_AF_PP;
  GPIO_InitStruct.Pull = GPIO_NOPULL;
  GPIO_InitStruct.Speed = GPIO_SPEED_FREQ_LOW;
  GPIO_InitStruct.Alternate = GPIO_AF2_TIM3;
  HAL_GPIO_Init(ARDUINO_PWM_D3_GPIO_Port, &GPIO_InitStruct);

  /*Configure GPIO pin : SPDIF_RX0_Pin */
  GPIO_InitStruct.Pin = SPDIF_RX0_Pin;
  GPIO_InitStruct.Mode = GPIO_MODE_AF_PP;
  GPIO_InitStruct.Pull = GPIO_NOPULL;
  GPIO_InitStruct.Speed = GPIO_SPEED_FREQ_LOW;
  GPIO_InitStruct.Alternate = GPIO_AF8_SPDIFRX;
  HAL_GPIO_Init(SPDIF_RX0_GPIO_Port, &GPIO_InitStruct);

  /*Configure GPIO pins : SDMMC_CK_Pin SDMMC_D3_Pin SDMMC_D2_Pin PC9
                           PC8 */
  GPIO_InitStruct.Pin = SDMMC_CK_Pin|SDMMC_D3_Pin|SDMMC_D2_Pin|GPIO_PIN_9
                          |GPIO_PIN_8;
  GPIO_InitStruct.Mode = GPIO_MODE_AF_PP;
  GPIO_InitStruct.Pull = GPIO_NOPULL;
  GPIO_InitStruct.Speed = GPIO_SPEED_FREQ_VERY_HIGH;
  GPIO_InitStruct.Alternate = GPIO_AF12_SDMMC1;
  HAL_GPIO_Init(GPIOC, &GPIO_InitStruct);

  /*Configure GPIO pin : ARDUINO_PWM_D9_Pin */
  GPIO_InitStruct.Pin = ARDUINO_PWM_D9_Pin;
  GPIO_InitStruct.Mode = GPIO_MODE_AF_PP;
  GPIO_InitStruct.Pull = GPIO_NOPULL;
  GPIO_InitStruct.Speed = GPIO_SPEED_FREQ_LOW;
  GPIO_InitStruct.Alternate = GPIO_AF1_TIM2;
  HAL_GPIO_Init(ARDUINO_PWM_D9_GPIO_Port, &GPIO_InitStruct);

  /*Configure GPIO pins : DCMI_D6_Pin DCMI_D7_Pin */
  GPIO_InitStruct.Pin = DCMI_D6_Pin|DCMI_D7_Pin;
  GPIO_InitStruct.Mode = GPIO_MODE_AF_PP;
  GPIO_InitStruct.Pull = GPIO_NOPULL;
  GPIO_InitStruct.Speed = GPIO_SPEED_FREQ_LOW;
  GPIO_InitStruct.Alternate = GPIO_AF13_DCMI;
  HAL_GPIO_Init(GPIOE, &GPIO_InitStruct);

  /*Configure GPIO pin : QSPI_NCS_Pin */
  GPIO_InitStruct.Pin = QSPI_NCS_Pin;
  GPIO_InitStruct.Mode = GPIO_MODE_AF_PP;
  GPIO_InitStruct.Pull = GPIO_NOPULL;
  GPIO_InitStruct.Speed = GPIO_SPEED_FREQ_VERY_HIGH;
  GPIO_InitStruct.Alternate = GPIO_AF10_QUADSPI;
  HAL_GPIO_Init(QSPI_NCS_GPIO_Port, &GPIO_InitStruct);

  /*Configure GPIO pins : FMC_SDNCAS_Pin FMC_SDCLK_Pin FMC_A11_Pin FMC_A10_Pin
                           FMC_BA1_Pin FMC_BA0_Pin */
  GPIO_InitStruct.Pin = FMC_SDNCAS_Pin|FMC_SDCLK_Pin|FMC_A11_Pin|FMC_A10_Pin
                          |FMC_BA1_Pin|FMC_BA0_Pin;
  GPIO_InitStruct.Mode = GPIO_MODE_AF_PP;
  GPIO_InitStruct.Pull = GPIO_NOPULL;
  GPIO_InitStruct.Speed = GPIO_SPEED_FREQ_VERY_HIGH;
  GPIO_InitStruct.Alternate = GPIO_AF12_FMC;
  HAL_GPIO_Init(GPIOG, &GPIO_InitStruct);

  /*Configure GPIO pins : LCD_B1_Pin LCD_B2_Pin LCD_B3_Pin LCD_G4_Pin
                           LCD_G1_Pin LCD_G3_Pin LCD_G0_Pin LCD_G2_Pin
                           LCD_R7_Pin LCD_R5_Pin LCD_R6_Pin LCD_R4_Pin
                           LCD_R3_Pin LCD_R1_Pin LCD_R2_Pin */
  GPIO_InitStruct.Pin = LCD_B1_Pin|LCD_B2_Pin|LCD_B3_Pin|LCD_G4_Pin
                          |LCD_G1_Pin|LCD_G3_Pin|LCD_G0_Pin|LCD_G2_Pin
                          |LCD_R7_Pin|LCD_R5_Pin|LCD_R6_Pin|LCD_R4_Pin
                          |LCD_R3_Pin|LCD_R1_Pin|LCD_R2_Pin;
  GPIO_InitStruct.Mode = GPIO_MODE_AF_PP;
  GPIO_InitStruct.Pull = GPIO_NOPULL;
  GPIO_InitStruct.Speed = GPIO_SPEED_FREQ_LOW;
  GPIO_InitStruct.Alternate = GPIO_AF14_LTDC;
  HAL_GPIO_Init(GPIOJ, &GPIO_InitStruct);

  /*Configure GPIO pin : OTG_FS_VBUS_Pin */
  GPIO_InitStruct.Pin = OTG_FS_VBUS_Pin;
  GPIO_InitStruct.Mode = GPIO_MODE_INPUT;
  GPIO_InitStruct.Pull = GPIO_NOPULL;
  HAL_GPIO_Init(OTG_FS_VBUS_GPIO_Port, &GPIO_InitStruct);

  /*Configure GPIO pin : Audio_INT_Pin */
  GPIO_InitStruct.Pin = Audio_INT_Pin;
  GPIO_InitStruct.Mode = GPIO_MODE_EVT_RISING;
  GPIO_InitStruct.Pull = GPIO_NOPULL;
  HAL_GPIO_Init(Audio_INT_GPIO_Port, &GPIO_InitStruct);

  /*Configure GPIO pins : FMC_D2_Pin FMC_D3_Pin FMC_D1_Pin FMC_D15_Pin
                           FMC_D0_Pin FMC_D14_Pin FMC_D13_Pin */
  GPIO_InitStruct.Pin = FMC_D2_Pin|FMC_D3_Pin|FMC_D1_Pin|FMC_D15_Pin
                          |FMC_D0_Pin|FMC_D14_Pin|FMC_D13_Pin;
  GPIO_InitStruct.Mode = GPIO_MODE_AF_PP;
  GPIO_InitStruct.Pull = GPIO_NOPULL;
  GPIO_InitStruct.Speed = GPIO_SPEED_FREQ_VERY_HIGH;
  GPIO_InitStruct.Alternate = GPIO_AF12_FMC;
  HAL_GPIO_Init(GPIOD, &GPIO_InitStruct);

  /*Configure GPIO pins : OTG_FS_P_Pin OTG_FS_N_Pin OTG_FS_ID_Pin */
  GPIO_InitStruct.Pin = OTG_FS_P_Pin|OTG_FS_N_Pin|OTG_FS_ID_Pin;
  GPIO_InitStruct.Mode = GPIO_MODE_AF_PP;
  GPIO_InitStruct.Pull = GPIO_NOPULL;
  GPIO_InitStruct.Speed = GPIO_SPEED_FREQ_VERY_HIGH;
  GPIO_InitStruct.Alternate = GPIO_AF10_OTG_FS;
  HAL_GPIO_Init(GPIOA, &GPIO_InitStruct);

  /*Configure GPIO pins : SAI2_MCLKA_Pin SAI2_SCKA_Pin SAI2_FSA_Pin SAI2_SDA_Pin */
  GPIO_InitStruct.Pin = SAI2_MCLKA_Pin|SAI2_SCKA_Pin|SAI2_FSA_Pin|SAI2_SDA_Pin;
  GPIO_InitStruct.Mode = GPIO_MODE_AF_PP;
  GPIO_InitStruct.Pull = GPIO_NOPULL;
  GPIO_InitStruct.Speed = GPIO_SPEED_FREQ_LOW;
  GPIO_InitStruct.Alternate = GPIO_AF10_SAI2;
  HAL_GPIO_Init(GPIOI, &GPIO_InitStruct);

  /*Configure GPIO pins : LCD_DE_Pin LCD_B7_Pin LCD_B6_Pin LCD_B5_Pin
                           LCD_G6_Pin LCD_G7_Pin LCD_G5_Pin */
  GPIO_InitStruct.Pin = LCD_DE_Pin|LCD_B7_Pin|LCD_B6_Pin|LCD_B5_Pin
                          |LCD_G6_Pin|LCD_G7_Pin|LCD_G5_Pin;
  GPIO_InitStruct.Mode = GPIO_MODE_AF_PP;
  GPIO_InitStruct.Pull = GPIO_NOPULL;
  GPIO_InitStruct.Speed = GPIO_SPEED_FREQ_LOW;
  GPIO_InitStruct.Alternate = GPIO_AF14_LTDC;
  HAL_GPIO_Init(GPIOK, &GPIO_InitStruct);

  /*Configure GPIO pin : LCD_B4_Pin */
  GPIO_InitStruct.Pin = LCD_B4_Pin;
  GPIO_InitStruct.Mode = GPIO_MODE_AF_PP;
  GPIO_InitStruct.Pull = GPIO_NOPULL;
  GPIO_InitStruct.Speed = GPIO_SPEED_FREQ_LOW;
  GPIO_InitStruct.Alternate = GPIO_AF9_LTDC;
  HAL_GPIO_Init(LCD_B4_GPIO_Port, &GPIO_InitStruct);

  /*Configure GPIO pin : SAI2_SDB_Pin */
  GPIO_InitStruct.Pin = SAI2_SDB_Pin;
  GPIO_InitStruct.Mode = GPIO_MODE_AF_PP;
  GPIO_InitStruct.Pull = GPIO_NOPULL;
  GPIO_InitStruct.Speed = GPIO_SPEED_FREQ_LOW;
  GPIO_InitStruct.Alternate = GPIO_AF10_SAI2;
  HAL_GPIO_Init(SAI2_SDB_GPIO_Port, &GPIO_InitStruct);

  /*Configure GPIO pin : OTG_FS_PowerSwitchOn_Pin */
  GPIO_InitStruct.Pin = OTG_FS_PowerSwitchOn_Pin;
  GPIO_InitStruct.Mode = GPIO_MODE_OUTPUT_PP;
  GPIO_InitStruct.Pull = GPIO_NOPULL;
  GPIO_InitStruct.Speed = GPIO_SPEED_FREQ_LOW;
  HAL_GPIO_Init(OTG_FS_PowerSwitchOn_GPIO_Port, &GPIO_InitStruct);

  /*Configure GPIO pin : DCMI_D5_Pin */
  GPIO_InitStruct.Pin = DCMI_D5_Pin;
  GPIO_InitStruct.Mode = GPIO_MODE_AF_PP;
  GPIO_InitStruct.Pull = GPIO_NOPULL;
  GPIO_InitStruct.Speed = GPIO_SPEED_FREQ_LOW;
  GPIO_InitStruct.Alternate = GPIO_AF13_DCMI;
  HAL_GPIO_Init(DCMI_D5_GPIO_Port, &GPIO_InitStruct);

  /*Configure GPIO pins : ARDUINO_D7_Pin ARDUINO_D8_Pin LCD_DISP_Pin */
  GPIO_InitStruct.Pin = ARDUINO_D7_Pin|ARDUINO_D8_Pin|LCD_DISP_Pin;
  GPIO_InitStruct.Mode = GPIO_MODE_OUTPUT_PP;
  GPIO_InitStruct.Pull = GPIO_NOPULL;
  GPIO_InitStruct.Speed = GPIO_SPEED_FREQ_LOW;
  HAL_GPIO_Init(GPIOI, &GPIO_InitStruct);

  /*Configure GPIO pin : uSD_Detect_Pin */
  GPIO_InitStruct.Pin = uSD_Detect_Pin;
  GPIO_InitStruct.Mode = GPIO_MODE_INPUT;
  GPIO_InitStruct.Pull = GPIO_NOPULL;
  HAL_GPIO_Init(uSD_Detect_GPIO_Port, &GPIO_InitStruct);

  /*Configure GPIO pins : FMC_A0_Pin FMC_A1_Pin FMC_A2_Pin FMC_A3_Pin
                           FMC_A4_Pin FMC_A5_Pin FMC_A6_Pin FMC_A9_Pin
                           FMC_A7_Pin FMC_A8_Pin FMC_SDNRAS_Pin */
  GPIO_InitStruct.Pin = FMC_A0_Pin|FMC_A1_Pin|FMC_A2_Pin|FMC_A3_Pin
                          |FMC_A4_Pin|FMC_A5_Pin|FMC_A6_Pin|FMC_A9_Pin
                          |FMC_A7_Pin|FMC_A8_Pin|FMC_SDNRAS_Pin;
  GPIO_InitStruct.Mode = GPIO_MODE_AF_PP;
  GPIO_InitStruct.Pull = GPIO_NOPULL;
  GPIO_InitStruct.Speed = GPIO_SPEED_FREQ_VERY_HIGH;
  GPIO_InitStruct.Alternate = GPIO_AF12_FMC;
  HAL_GPIO_Init(GPIOF, &GPIO_InitStruct);

  /*Configure GPIO pins : LCD_HSYNC_Pin LCD_VSYNC_Pin LCD_R0_Pin LCD_CLK_Pin */
  GPIO_InitStruct.Pin = LCD_HSYNC_Pin|LCD_VSYNC_Pin|LCD_R0_Pin|LCD_CLK_Pin;
  GPIO_InitStruct.Mode = GPIO_MODE_AF_PP;
  GPIO_InitStruct.Pull = GPIO_NOPULL;
  GPIO_InitStruct.Speed = GPIO_SPEED_FREQ_LOW;
  GPIO_InitStruct.Alternate = GPIO_AF14_LTDC;
  HAL_GPIO_Init(GPIOI, &GPIO_InitStruct);

  /*Configure GPIO pin : LCD_BL_CTRL_Pin */
  GPIO_InitStruct.Pin = LCD_BL_CTRL_Pin;
  GPIO_InitStruct.Mode = GPIO_MODE_OUTPUT_PP;
  GPIO_InitStruct.Pull = GPIO_NOPULL;
  GPIO_InitStruct.Speed = GPIO_SPEED_FREQ_LOW;
  HAL_GPIO_Init(LCD_BL_CTRL_GPIO_Port, &GPIO_InitStruct);

  /*Configure GPIO pin : DCMI_VSYNC_Pin */
  GPIO_InitStruct.Pin = DCMI_VSYNC_Pin;
  GPIO_InitStruct.Mode = GPIO_MODE_AF_PP;
  GPIO_InitStruct.Pull = GPIO_NOPULL;
  GPIO_InitStruct.Speed = GPIO_SPEED_FREQ_LOW;
  GPIO_InitStruct.Alternate = GPIO_AF13_DCMI;
  HAL_GPIO_Init(DCMI_VSYNC_GPIO_Port, &GPIO_InitStruct);

  /*Configure GPIO pin : OTG_FS_OverCurrent_Pin */
  GPIO_InitStruct.Pin = OTG_FS_OverCurrent_Pin;
  GPIO_InitStruct.Mode = GPIO_MODE_INPUT;
  GPIO_InitStruct.Pull = GPIO_NOPULL;
  HAL_GPIO_Init(OTG_FS_OverCurrent_GPIO_Port, &GPIO_InitStruct);

  /*Configure GPIO pin : SDMMC_CMD_Pin */
  GPIO_InitStruct.Pin = SDMMC_CMD_Pin;
  GPIO_InitStruct.Mode = GPIO_MODE_AF_PP;
  GPIO_InitStruct.Pull = GPIO_NOPULL;
  GPIO_InitStruct.Speed = GPIO_SPEED_FREQ_VERY_HIGH;
  GPIO_InitStruct.Alternate = GPIO_AF12_SDMMC1;
  HAL_GPIO_Init(SDMMC_CMD_GPIO_Port, &GPIO_InitStruct);

  /*Configure GPIO pins : TP3_Pin NC2_Pin */
  GPIO_InitStruct.Pin = TP3_Pin|NC2_Pin;
  GPIO_InitStruct.Mode = GPIO_MODE_INPUT;
  GPIO_InitStruct.Pull = GPIO_NOPULL;
  HAL_GPIO_Init(GPIOH, &GPIO_InitStruct);

  /*Configure GPIO pin : ARDUINO_SCK_D13_Pin */
  GPIO_InitStruct.Pin = ARDUINO_SCK_D13_Pin;
  GPIO_InitStruct.Mode = GPIO_MODE_AF_PP;
  GPIO_InitStruct.Pull = GPIO_NOPULL;
  GPIO_InitStruct.Speed = GPIO_SPEED_FREQ_LOW;
  GPIO_InitStruct.Alternate = GPIO_AF5_SPI2;
  HAL_GPIO_Init(ARDUINO_SCK_D13_GPIO_Port, &GPIO_InitStruct);

  /*Configure GPIO pin : DCMI_PWR_EN_Pin */
  GPIO_InitStruct.Pin = DCMI_PWR_EN_Pin;
  GPIO_InitStruct.Mode = GPIO_MODE_OUTPUT_PP;
  GPIO_InitStruct.Pull = GPIO_NOPULL;
  GPIO_InitStruct.Speed = GPIO_SPEED_FREQ_LOW;
  HAL_GPIO_Init(DCMI_PWR_EN_GPIO_Port, &GPIO_InitStruct);

  /*Configure GPIO pins : DCMI_D4_Pin DCMI_D3_Pin DCMI_D0_Pin DCMI_D2_Pin
                           DCMI_D1_Pin */
  GPIO_InitStruct.Pin = DCMI_D4_Pin|DCMI_D3_Pin|DCMI_D0_Pin|DCMI_D2_Pin
                          |DCMI_D1_Pin;
  GPIO_InitStruct.Mode = GPIO_MODE_AF_PP;
  GPIO_InitStruct.Pull = GPIO_NOPULL;
  GPIO_InitStruct.Speed = GPIO_SPEED_FREQ_LOW;
  GPIO_InitStruct.Alternate = GPIO_AF13_DCMI;
  HAL_GPIO_Init(GPIOH, &GPIO_InitStruct);

  /*Configure GPIO pin : ARDUINO_PWM_CS_D5_Pin */
  GPIO_InitStruct.Pin = ARDUINO_PWM_CS_D5_Pin;
  GPIO_InitStruct.Mode = GPIO_MODE_AF_PP;
  GPIO_InitStruct.Pull = GPIO_NOPULL;
  GPIO_InitStruct.Speed = GPIO_SPEED_FREQ_LOW;
  GPIO_InitStruct.Alternate = GPIO_AF2_TIM5;
  HAL_GPIO_Init(ARDUINO_PWM_CS_D5_GPIO_Port, &GPIO_InitStruct);

  /*Configure GPIO pin : ARDUINO_PWM_D10_Pin */
  GPIO_InitStruct.Pin = ARDUINO_PWM_D10_Pin;
  GPIO_InitStruct.Mode = GPIO_MODE_AF_PP;
  GPIO_InitStruct.Pull = GPIO_NOPULL;
  GPIO_InitStruct.Speed = GPIO_SPEED_FREQ_LOW;
  GPIO_InitStruct.Alternate = GPIO_AF1_TIM1;
  HAL_GPIO_Init(ARDUINO_PWM_D10_GPIO_Port, &GPIO_InitStruct);

  /*Configure GPIO pin : LCD_INT_Pin */
  GPIO_InitStruct.Pin = LCD_INT_Pin;
  GPIO_InitStruct.Mode = GPIO_MODE_EVT_RISING;
  GPIO_InitStruct.Pull = GPIO_NOPULL;
  HAL_GPIO_Init(LCD_INT_GPIO_Port, &GPIO_InitStruct);

  /*Configure GPIO pin : ULPI_NXT_Pin */
  GPIO_InitStruct.Pin = ULPI_NXT_Pin;
  GPIO_InitStruct.Mode = GPIO_MODE_AF_PP;
  GPIO_InitStruct.Pull = GPIO_NOPULL;
  GPIO_InitStruct.Speed = GPIO_SPEED_FREQ_VERY_HIGH;
  GPIO_InitStruct.Alternate = GPIO_AF10_OTG_HS;
  HAL_GPIO_Init(ULPI_NXT_GPIO_Port, &GPIO_InitStruct);

  /*Configure GPIO pins : FMC_SDNME_Pin FMC_SDNE0_Pin */
  GPIO_InitStruct.Pin = FMC_SDNME_Pin|FMC_SDNE0_Pin;
  GPIO_InitStruct.Mode = GPIO_MODE_AF_PP;
  GPIO_InitStruct.Pull = GPIO_NOPULL;
  GPIO_InitStruct.Speed = GPIO_SPEED_FREQ_VERY_HIGH;
  GPIO_InitStruct.Alternate = GPIO_AF12_FMC;
  HAL_GPIO_Init(GPIOH, &GPIO_InitStruct);

  /*Configure GPIO pins : ARDUINO_D4_Pin ARDUINO_D2_Pin EXT_RST_Pin */
  GPIO_InitStruct.Pin = ARDUINO_D4_Pin|ARDUINO_D2_Pin|EXT_RST_Pin;
  GPIO_InitStruct.Mode = GPIO_MODE_OUTPUT_PP;
  GPIO_InitStruct.Pull = GPIO_NOPULL;
  GPIO_InitStruct.Speed = GPIO_SPEED_FREQ_LOW;
  HAL_GPIO_Init(GPIOG, &GPIO_InitStruct);

  /*Configure GPIO pins : ARDUINO_A4_Pin ARDUINO_A5_Pin ARDUINO_A1_Pin ARDUINO_A2_Pin
                           ARDUINO_A3_Pin */
  GPIO_InitStruct.Pin = ARDUINO_A4_Pin|ARDUINO_A5_Pin|ARDUINO_A1_Pin|ARDUINO_A2_Pin
                          |ARDUINO_A3_Pin;
  GPIO_InitStruct.Mode = GPIO_MODE_ANALOG;
  GPIO_InitStruct.Pull = GPIO_NOPULL;
  HAL_GPIO_Init(GPIOF, &GPIO_InitStruct);

  /*Configure GPIO pin : FMC_SDCKE0_Pin */
  GPIO_InitStruct.Pin = FMC_SDCKE0_Pin;
  GPIO_InitStruct.Mode = GPIO_MODE_AF_PP;
  GPIO_InitStruct.Pull = GPIO_NOPULL;
  GPIO_InitStruct.Speed = GPIO_SPEED_FREQ_VERY_HIGH;
  GPIO_InitStruct.Alternate = GPIO_AF12_FMC;
  HAL_GPIO_Init(FMC_SDCKE0_GPIO_Port, &GPIO_InitStruct);

  /*Configure GPIO pins : ULPI_STP_Pin ULPI_DIR_Pin */
  GPIO_InitStruct.Pin = ULPI_STP_Pin|ULPI_DIR_Pin;
  GPIO_InitStruct.Mode = GPIO_MODE_AF_PP;
  GPIO_InitStruct.Pull = GPIO_NOPULL;
  GPIO_InitStruct.Speed = GPIO_SPEED_FREQ_VERY_HIGH;
  GPIO_InitStruct.Alternate = GPIO_AF10_OTG_HS;
  HAL_GPIO_Init(GPIOC, &GPIO_InitStruct);

  /*Configure GPIO pins : RMII_MDC_Pin RMII_RXD0_Pin RMII_RXD1_Pin */
  GPIO_InitStruct.Pin = RMII_MDC_Pin|RMII_RXD0_Pin|RMII_RXD1_Pin;
  GPIO_InitStruct.Mode = GPIO_MODE_AF_PP;
  GPIO_InitStruct.Pull = GPIO_NOPULL;
  GPIO_InitStruct.Speed = GPIO_SPEED_FREQ_VERY_HIGH;
  GPIO_InitStruct.Alternate = GPIO_AF11_ETH;
  HAL_GPIO_Init(GPIOC, &GPIO_InitStruct);

  /*Configure GPIO pin : PB2 */
  GPIO_InitStruct.Pin = GPIO_PIN_2;
  GPIO_InitStruct.Mode = GPIO_MODE_AF_PP;
  GPIO_InitStruct.Pull = GPIO_NOPULL;
  GPIO_InitStruct.Speed = GPIO_SPEED_FREQ_VERY_HIGH;
  GPIO_InitStruct.Alternate = GPIO_AF9_QUADSPI;
  HAL_GPIO_Init(GPIOB, &GPIO_InitStruct);

  /*Configure GPIO pins : QSPI_D1_Pin QSPI_D3_Pin QSPI_D0_Pin */
  GPIO_InitStruct.Pin = QSPI_D1_Pin|QSPI_D3_Pin|QSPI_D0_Pin;
  GPIO_InitStruct.Mode = GPIO_MODE_AF_PP;
  GPIO_InitStruct.Pull = GPIO_NOPULL;
  GPIO_InitStruct.Speed = GPIO_SPEED_FREQ_VERY_HIGH;
  GPIO_InitStruct.Alternate = GPIO_AF9_QUADSPI;
  HAL_GPIO_Init(GPIOD, &GPIO_InitStruct);

  /*Configure GPIO pin : RMII_RXER_Pin */
  GPIO_InitStruct.Pin = RMII_RXER_Pin;
  GPIO_InitStruct.Mode = GPIO_MODE_INPUT;
  GPIO_InitStruct.Pull = GPIO_NOPULL;
  HAL_GPIO_Init(RMII_RXER_GPIO_Port, &GPIO_InitStruct);

  /*Configure GPIO pins : RMII_REF_CLK_Pin RMII_MDIO_Pin RMII_CRS_DV_Pin */
  GPIO_InitStruct.Pin = RMII_REF_CLK_Pin|RMII_MDIO_Pin|RMII_CRS_DV_Pin;
  GPIO_InitStruct.Mode = GPIO_MODE_AF_PP;
  GPIO_InitStruct.Pull = GPIO_NOPULL;
  GPIO_InitStruct.Speed = GPIO_SPEED_FREQ_VERY_HIGH;
  GPIO_InitStruct.Alternate = GPIO_AF11_ETH;
  HAL_GPIO_Init(GPIOA, &GPIO_InitStruct);

  /*Configure GPIO pin : ARDUINO_A0_Pin */
  GPIO_InitStruct.Pin = ARDUINO_A0_Pin;
  GPIO_InitStruct.Mode = GPIO_MODE_ANALOG;
  GPIO_InitStruct.Pull = GPIO_NOPULL;
  HAL_GPIO_Init(ARDUINO_A0_GPIO_Port, &GPIO_InitStruct);

  /*Configure GPIO pins : DCMI_HSYNC_Pin PA6 */
  GPIO_InitStruct.Pin = DCMI_HSYNC_Pin|GPIO_PIN_6;
  GPIO_InitStruct.Mode = GPIO_MODE_AF_PP;
  GPIO_InitStruct.Pull = GPIO_NOPULL;
  GPIO_InitStruct.Speed = GPIO_SPEED_FREQ_LOW;
  GPIO_InitStruct.Alternate = GPIO_AF13_DCMI;
  HAL_GPIO_Init(GPIOA, &GPIO_InitStruct);

  /*Configure GPIO pins : LCD_SCL_Pin LCD_SDA_Pin */
  GPIO_InitStruct.Pin = LCD_SCL_Pin|LCD_SDA_Pin;
  GPIO_InitStruct.Mode = GPIO_MODE_AF_OD;
  GPIO_InitStruct.Pull = GPIO_PULLUP;
  GPIO_InitStruct.Speed = GPIO_SPEED_FREQ_VERY_HIGH;
  GPIO_InitStruct.Alternate = GPIO_AF4_I2C3;
  HAL_GPIO_Init(GPIOH, &GPIO_InitStruct);

  /*Configure GPIO pins : ULPI_CLK_Pin ULPI_D0_Pin */
  GPIO_InitStruct.Pin = ULPI_CLK_Pin|ULPI_D0_Pin;
  GPIO_InitStruct.Mode = GPIO_MODE_AF_PP;
  GPIO_InitStruct.Pull = GPIO_NOPULL;
  GPIO_InitStruct.Speed = GPIO_SPEED_FREQ_VERY_HIGH;
  GPIO_InitStruct.Alternate = GPIO_AF10_OTG_HS;
  HAL_GPIO_Init(GPIOA, &GPIO_InitStruct);

  /*Configure GPIO pin : ARDUINO_PWM_D6_Pin */
  GPIO_InitStruct.Pin = ARDUINO_PWM_D6_Pin;
  GPIO_InitStruct.Mode = GPIO_MODE_AF_PP;
  GPIO_InitStruct.Pull = GPIO_NOPULL;
  GPIO_InitStruct.Speed = GPIO_SPEED_FREQ_LOW;
  GPIO_InitStruct.Alternate = GPIO_AF9_TIM12;
  HAL_GPIO_Init(ARDUINO_PWM_D6_GPIO_Port, &GPIO_InitStruct);

  /*Configure GPIO pins : ARDUINO_MISO_D12_Pin ARDUINO_MOSI_PWM_D11_Pin */
  GPIO_InitStruct.Pin = ARDUINO_MISO_D12_Pin|ARDUINO_MOSI_PWM_D11_Pin;
  GPIO_InitStruct.Mode = GPIO_MODE_AF_PP;
  GPIO_InitStruct.Pull = GPIO_NOPULL;
  GPIO_InitStruct.Speed = GPIO_SPEED_FREQ_LOW;
  GPIO_InitStruct.Alternate = GPIO_AF5_SPI2;
  HAL_GPIO_Init(GPIOB, &GPIO_InitStruct);

}

/* USER CODE BEGIN 4 */
void HAL_CAN_RxFifo0MsgPendingCallback(CAN_HandleTypeDef *hcan)
{
	if(HAL_CAN_GetRxMessage(hcan, CAN_RX_FIFO0, &can_rx_header, rx_data) != HAL_OK)
	{
		Error_Handler();
	}

	is_received = true;
}
/* USER CODE END 4 */

void Error_Handler(void)
{
  __disable_irq();
  while (1)
  {
  }
}
